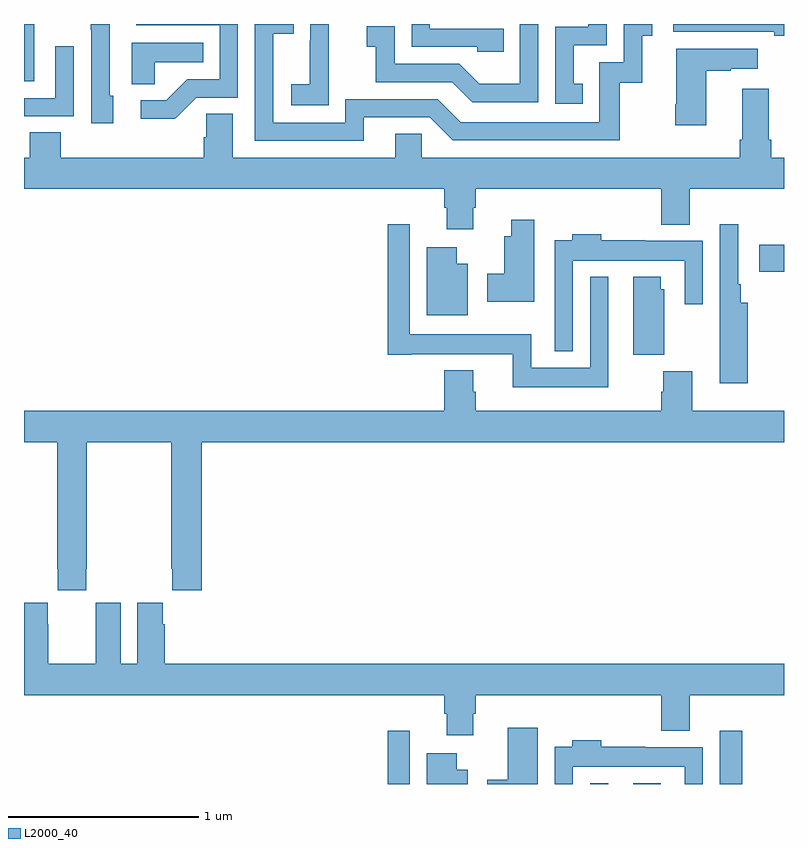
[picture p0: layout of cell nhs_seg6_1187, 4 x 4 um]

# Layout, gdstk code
import gdstk
lib = gdstk.Library(unit=1e-6, precision=1e-09)
def R(c, l, rs):  # rectangles x0, y0, x1, y1
    for r in rs: c.add(gdstk.rectangle(r[:2], r[2:], *l))
def P(c, l, *ps):  # polygons
    for p in ps: c.add(gdstk.Polygon(p, *l))
L2000_40 = (2000, 40)

nhs_seg6_1187 = lib.new_cell('nhs_seg6_1187')
R(nhs_seg6_1187, L2000_40, [(184.915,981.5,185.031,981.781), (185.979,981.5,186.076,981.505), (186.206,981.5,186.352,981.505), (186.663,981.5,186.779,981.781), (186.87,984.197,187,984.339), (183,985.199,183.055,985.5)])
P(nhs_seg6_1187, L2000_40, [(183.798,985.005),(183.906,985.113),(184.125,985.113),(184.125,985.5),(183.591,985.5),(183.591,985.494),(184.029,985.494),(184.029,985.209),(183.86,985.209),(183.749,985.098),(183.615,985.098),(183.615,985.001),(183.793,985.001)],
  [(185.525,985.476),(185.136,985.476),(185.136,985.5),(185.04,985.5),(185.04,985.38),(185.385,985.38),(185.385,985.353),(185.525,985.353)],
  [(184.605,985.279),(184.604,985.279),(184.604,985.5),(184.506,985.5),(184.506,985.412),(184.505,985.412),(184.505,985.183),(184.407,985.183),(184.407,985.073),(184.605,985.073)],
  [(184.789,985.008),(185.136,985.008),(185.256,984.888),(186.136,984.888),(186.136,985.191),(186.254,985.191),(186.254,985.437),(186.307,985.437),(186.307,985.5),(186.156,985.5),(186.156,985.299),(186.027,985.299),(186.027,984.984),(185.298,984.984),(185.178,985.104),(184.692,985.104),(184.692,984.981),(184.311,984.981),(184.311,985.45),(184.421,985.45),(184.421,985.5),(184.215,985.5),(184.215,984.885),(184.789,984.885)],
  [(183.469,985.122),(183.45,985.122),(183.45,985.5),(183.352,985.5),(183.352,985.471),(183.354,985.471),(183.354,984.978),(183.469,984.978)],
  [(185.942,985.185),(185.893,985.185),(185.893,985.389),(186.066,985.389),(186.066,985.5),(185.97,985.5),(185.97,985.485),(185.796,985.485),(185.796,985.08),(185.942,985.08)],
  [(187,985.5),(186.417,985.5),(186.417,985.458),(186.949,985.458),(186.949,985.438),(187,985.438)],
  [(185.706,985.5),(185.61,985.5),(185.61,985.186),(185.396,985.186),(185.292,985.29),(184.95,985.29),(184.95,985.489),(184.803,985.489),(184.803,985.379),(184.852,985.379),(184.852,985.194),(185.255,985.194),(185.36,985.089),(185.706,985.089)],
  [(183.687,985.298),(183.944,985.298),(183.944,985.402),(183.566,985.402),(183.566,985.183),(183.687,985.183)],
  [(183.261,985.384),(183.165,985.384),(183.165,985.11),(183,985.11),(183,985.014),(183.261,985.014)],
  [(186.592,985.255),(186.719,985.255),(186.719,985.265),(186.862,985.265),(186.862,985.369),(186.434,985.369),(186.434,985.078),(186.427,985.078),(186.427,984.966),(186.592,984.966)],
  [(185.365,984.534),(185.378,984.534),(185.378,984.632),(186.353,984.632),(186.353,984.443),(186.505,984.443),(186.505,984.632),(187,984.632),(187,984.796),(186.932,984.796),(186.932,984.892),(186.919,984.892),(186.919,985.159),(186.779,985.159),(186.779,984.892),(186.767,984.892),(186.767,984.796),(185.094,984.796),(185.094,984.923),(184.955,984.923),(184.955,984.796),(184.099,984.796),(184.099,985.028),(183.96,985.028),(183.96,984.905),(183.947,984.905),(183.947,984.796),(183.194,984.796),(183.194,984.929),(183.029,984.929),(183.029,984.796),(183,984.796),(183,984.632),(185.213,984.632),(185.213,984.534),(185.225,984.534),(185.225,984.42),(185.365,984.42)],
  [(185.686,984.469),(185.564,984.469),(185.564,984.382),(185.528,984.382),(185.528,984.186),(185.439,984.186),(185.439,984.038),(185.686,984.038)],
  [(186.076,984.169),(185.979,984.169),(185.979,983.692),(185.67,983.692),(185.67,983.866),(185.031,983.866),(185.031,984.445),(184.915,984.445),(184.915,983.76),(185.038,983.76),(185.038,983.762),(185.573,983.762),(185.573,983.588),(186.076,983.588)],
  [(186.809,984.034),(186.772,984.034),(186.772,984.13),(186.759,984.13),(186.759,984.445),(186.663,984.445),(186.663,983.93),(186.662,983.93),(186.662,983.61),(186.809,983.61)],
  [(185.889,984.254),(186.477,984.254),(186.477,984.024),(186.573,984.024),(186.573,984.358),(186.269,984.358),(186.269,984.361),(186.038,984.361),(186.038,984.394),(185.885,984.394),(185.885,984.361),(185.793,984.361),(185.793,983.777),(185.889,983.777)],
  [(185.335,984.238),(185.278,984.238),(185.278,984.325),(185.12,984.325),(185.12,983.966),(185.335,983.966)],
  [(186.37,984.105),(186.352,984.105),(186.352,984.169),(186.206,984.169),(186.206,983.758),(186.37,983.758)],
  [(183.327,982.633),(183.33,982.633),(183.33,983.3),(183.775,983.3),(183.775,982.633),(183.781,982.633),(183.781,982.521),(183.935,982.521),(183.935,983.3),(187,983.3),(187,983.464),(186.518,983.464),(186.518,983.673),(186.365,983.673),(186.365,983.564),(186.353,983.564),(186.353,983.464),(185.378,983.464),(185.378,983.565),(185.365,983.565),(185.365,983.677),(185.213,983.677),(185.213,983.464),(183,983.464),(183,983.3),(183.175,983.3),(183.175,982.633),(183.177,982.633),(183.177,982.521),(183.327,982.521)],
  [(185.365,981.87),(185.378,981.87),(185.378,981.968),(186.353,981.968),(186.353,981.779),(186.505,981.779),(186.505,981.968),(187,981.968),(187,982.132),(183.74,982.132),(183.74,982.34),(183.73,982.34),(183.73,982.453),(183.596,982.453),(183.596,982.132),(183.508,982.132),(183.508,982.453),(183.378,982.453),(183.378,982.34),(183.377,982.34),(183.377,982.132),(183.127,982.132),(183.127,982.34),(183.126,982.34),(183.126,982.453),(183,982.453),(183,981.968),(185.213,981.968),(185.213,981.87),(185.225,981.87),(185.225,981.756),(185.365,981.756)],
  [(185.704,981.796),(185.546,981.796),(185.546,981.522),(185.439,981.522),(185.439,981.5),(185.704,981.5)],
  [(185.889,981.59),(186.477,981.59),(186.477,981.5),(186.573,981.5),(186.573,981.694),(186.269,981.694),(186.269,981.697),(186.038,981.697),(186.038,981.73),(185.885,981.73),(185.885,981.697),(185.793,981.697),(185.793,981.5),(185.889,981.5)],
  [(185.335,981.574),(185.278,981.574),(185.278,981.661),(185.12,981.661),(185.12,981.5),(185.335,981.5)])

lib.write_gds('nhs_seg6_1187.gds')
